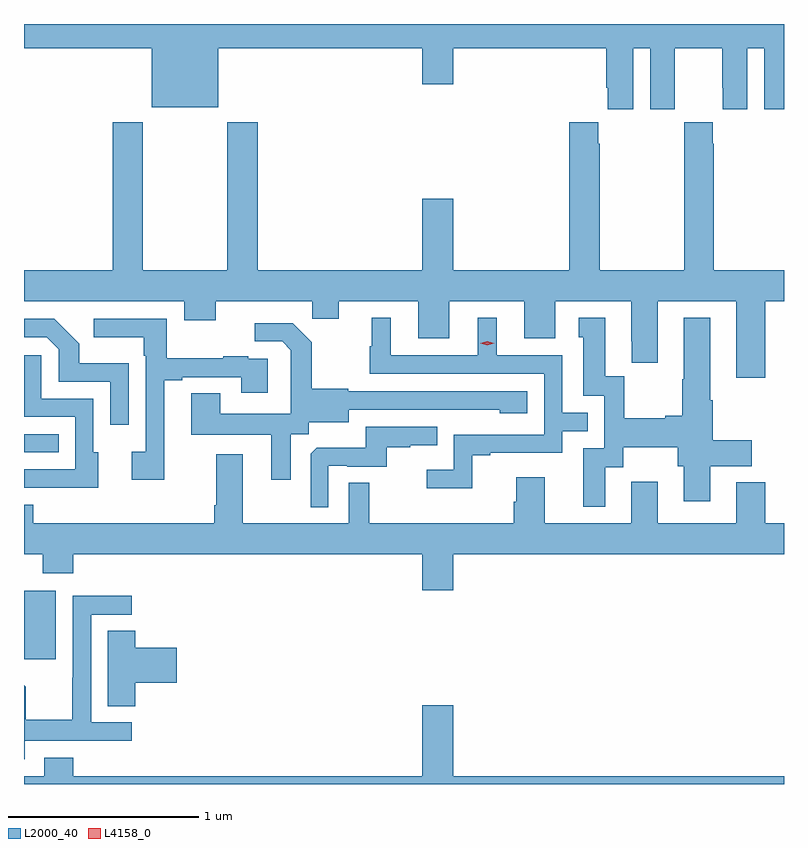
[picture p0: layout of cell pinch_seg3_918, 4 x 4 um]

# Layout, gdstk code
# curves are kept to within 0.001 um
import gdstk
lib = gdstk.Library(unit=1e-6, precision=1e-09)
def R(c, l, rs):  # rectangles x0, y0, x1, y1
    for r in rs: c.add(gdstk.rectangle(r[:2], r[2:], *l))
def P(c, l, *ps):  # polygons
    for p in ps: c.add(gdstk.Polygon(p, *l))
L2000_40 = (2000, 40)
L4158_0 = (4158, 0)

pinch_seg3_918 = lib.new_cell('pinch_seg3_918')
R(pinch_seg3_918, L2000_40, [(858.217,685.713,858.385,686.074), (858.217,686.802,858.401,686.898)])
P(pinch_seg3_918, L2000_40, [(861.424,688.928),(861.512,688.928),(861.512,688.608),(861.642,688.608),(861.642,688.72),(861.643,688.72),(861.643,688.928),(861.893,688.928),(861.893,688.72),(861.894,688.72),(861.894,688.608),(862.024,688.608),(862.024,688.928),(862.112,688.928),(862.112,688.608),(862.217,688.608),(862.217,689.056),(858.217,689.056),(858.217,688.928),(858.89,688.928),(858.89,688.619),(859.24,688.619),(859.24,688.928),(860.312,688.928),(860.312,688.74),(860.476,688.74),(860.476,688.928),(861.281,688.928),(861.281,688.72),(861.29,688.72),(861.29,688.608),(861.424,688.608)],
  [(860.476,688.135),(860.312,688.135),(860.312,687.76),(859.448,687.76),(859.448,688.54),(859.288,688.54),(859.288,687.76),(858.843,687.76),(858.843,688.54),(858.683,688.54),(858.683,687.76),(858.217,687.76),(858.217,687.596),(859.061,687.596),(859.061,687.497),(859.225,687.497),(859.225,687.596),(859.735,687.596),(859.735,687.506),(859.873,687.506),(859.873,687.596),(860.291,687.596),(860.291,687.402),(860.455,687.402),(860.455,687.596),(860.849,687.596),(860.849,687.402),(861.013,687.402),(861.013,687.596),(861.413,687.596),(861.413,687.385),(861.416,687.385),(861.416,687.273),(861.553,687.273),(861.553,687.596),(861.965,687.596),(861.965,687.195),(862.118,687.195),(862.118,687.596),(862.217,687.596),(862.217,687.76),(861.846,687.76),(861.846,688.427),(861.843,688.427),(861.843,688.54),(861.693,688.54),(861.693,688.427),(861.691,688.427),(861.691,687.76),(861.246,687.76),(861.246,688.427),(861.239,688.427),(861.239,688.54),(861.086,688.54),(861.086,687.76),(860.476,687.76)],
  [(861.277,686.722),(861.371,686.722),(861.371,686.828),(861.659,686.828),(861.659,686.729),(861.689,686.729),(861.689,686.544),(861.829,686.544),(861.829,686.729),(862.048,686.729),(862.048,686.864),(861.842,686.864),(861.842,687.076),(861.829,687.076),(861.829,687.511),(861.689,687.511),(861.689,687.185),(861.682,687.185),(861.682,686.993),(861.593,686.993),(861.593,686.98),(861.375,686.98),(861.375,687.203),(861.277,687.203),(861.277,687.511),(861.137,687.511),(861.137,687.408),(861.161,687.408),(861.161,687.099),(861.27,687.099),(861.27,686.823),(861.161,686.823),(861.161,686.514),(861.277,686.514)],
  [(860.577,686.787),(860.671,686.787),(860.671,686.799),(861.051,686.799),(861.051,686.913),(861.185,686.913),(861.185,687.009),(861.051,687.009),(861.051,687.312),(860.704,687.312),(860.704,687.511),(860.606,687.511),(860.606,687.312),(860.146,687.312),(860.146,687.511),(860.048,687.511),(860.048,687.36),(860.037,687.36),(860.037,687.216),(860.955,687.216),(860.955,686.895),(860.478,686.895),(860.478,686.71),(860.337,686.71),(860.337,686.612),(860.577,686.612)],
  [(858.768,687.271),(858.507,687.271),(858.507,687.374),(858.376,687.504),(858.217,687.504),(858.217,687.408),(858.336,687.408),(858.399,687.345),(858.399,687.174),(858.672,687.174),(858.672,686.946),(858.768,686.946)],
  [(858.955,687.18),(859.051,687.18),(859.051,687.198),(859.361,687.198),(859.361,687.114),(859.501,687.114),(859.501,687.294),(859.397,687.294),(859.397,687.307),(859.265,687.307),(859.265,687.296),(858.967,687.296),(858.967,687.504),(858.585,687.504),(858.585,687.407),(858.846,687.407),(858.846,687.311),(858.858,687.311),(858.858,686.806),(858.783,686.806),(858.783,686.658),(858.955,686.658)],
  [(859.621,686.896),(859.716,686.896),(859.716,686.96),(859.927,686.96),(859.927,687.027),(860.721,687.026),(860.721,687.008),(860.866,687.008),(860.866,687.123),(859.923,687.123),(859.923,687.136),(859.731,687.136),(859.731,687.381),(859.631,687.481),(859.431,687.481),(859.431,687.387),(859.575,687.387),(859.622,687.34),(859.622,687.245),(859.62,687.245),(859.62,687.004),(859.249,687.004),(859.249,687.113),(859.097,687.113),(859.097,686.894),(859.517,686.894),(859.517,686.658),(859.621,686.658)],
  [(858.607,686.802),(858.582,686.802),(858.582,687.084),(858.309,687.084),(858.309,687.313),(858.217,687.313),(858.217,686.988),(858.486,686.988),(858.486,686.712),(858.217,686.712),(858.217,686.616),(858.389,686.616),(858.389,686.615),(858.607,686.615)],
  [(859.818,686.73),(859.918,686.73),(859.918,686.727),(860.126,686.727),(860.126,686.829),(860.249,686.829),(860.249,686.84),(860.393,686.84),(860.393,686.937),(860.016,686.937),(860.016,686.825),(859.757,686.825),(859.725,686.793),(859.725,686.513),(859.818,686.513)],
  [(862.217,686.428),(862.118,686.428),(862.118,686.644),(861.965,686.644),(861.965,686.428),(861.553,686.428),(861.553,686.647),(861.413,686.647),(861.413,686.428),(860.959,686.428),(860.959,686.671),(860.807,686.671),(860.807,686.541),(860.795,686.541),(860.795,686.428),(860.035,686.428),(860.035,686.642),(859.926,686.642),(859.926,686.428),(859.369,686.428),(859.369,686.791),(859.229,686.791),(859.229,686.524),(859.217,686.524),(859.217,686.428),(858.265,686.428),(858.265,686.527),(858.217,686.527),(858.217,686.264),(858.316,686.264),(858.316,686.165),(858.476,686.165),(858.476,686.264),(860.312,686.264),(860.312,686.076),(860.476,686.076),(860.476,686.264),(862.217,686.264)],
  [(858.222,685.284),(858.784,685.284),(858.784,685.38),(858.57,685.38),(858.57,685.947),(858.784,685.947),(858.784,686.046),(858.474,686.046),(858.474,685.616),(858.472,685.616),(858.472,685.393),(858.227,685.393),(858.227,685.567),(858.217,685.577),(858.217,685.187),(858.222,685.187)],
  [(858.803,685.589),(859.021,685.589),(859.021,685.772),(858.803,685.772),(858.803,685.862),(858.659,685.862),(858.659,685.465),(858.803,685.465)],
  [(862.217,685.096),(860.476,685.096),(860.476,685.471),(860.312,685.471),(860.312,685.096),(858.476,685.096),(858.476,685.195),(858.323,685.195),(858.323,685.096),(858.217,685.096),(858.217,685.056),(862.217,685.056)])
P(pinch_seg3_918, L4158_0, [(860.655,687.365),(860.619,687.375),(860.619,687.375),(860.619,687.375),(860.655,687.385),(860.691,687.375),(860.691,687.375),(860.691,687.375)])

lib.write_gds('pinch_seg3_918.gds')
